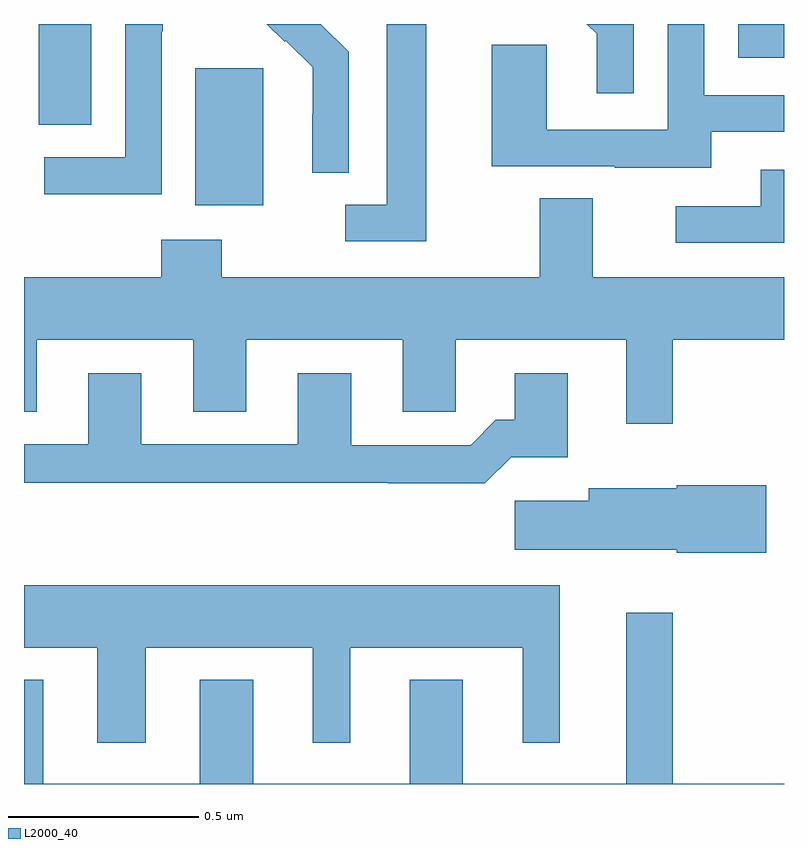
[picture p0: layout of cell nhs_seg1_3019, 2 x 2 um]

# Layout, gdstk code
import gdstk
lib = gdstk.Library(unit=1e-6, precision=1e-09)
def R(c, l, rs):  # rectangles x0, y0, x1, y1
    for r in rs: c.add(gdstk.rectangle(r[:2], r[2:], *l))
def P(c, l, *ps):  # polygons
    for p in ps: c.add(gdstk.Polygon(p, *l))
L2000_40 = (2000, 40)

nhs_seg1_3019 = lib.new_cell('nhs_seg1_3019')
R(nhs_seg1_3019, L2000_40, [(148.451,582.722,148.63,583.083), (148.039,582.934,148.177,583.199), (149.88,583.11,150,583.199)])
P(nhs_seg1_3019, L2000_40, [(149.809,582.915),(150,582.915),(150,583.011),(149.79,583.011),(149.79,583.199),(149.694,583.199),(149.694,582.921),(149.376,582.921),(149.376,583.145),(149.231,583.145),(149.231,582.825),(149.555,582.825),(149.555,582.821),(149.809,582.821)],
  [(148.854,583.126),(148.781,583.199),(148.639,583.199),(148.686,583.152),(148.689,583.155),(148.76,583.085),(148.76,582.962),(148.758,582.962),(148.758,582.808),(148.854,582.808)],
  [(148.362,583.18),(148.365,583.18),(148.365,583.199),(148.266,583.199),(148.266,582.849),(148.053,582.849),(148.053,582.751),(148.362,582.751)],
  [(149.604,583.199),(149.481,583.199),(149.507,583.173),(149.507,583.017),(149.604,583.017)],
  [(149.059,583.199),(148.955,583.199),(148.955,582.723),(148.845,582.723),(148.845,582.627),(149.059,582.627)],
  [(150,582.816),(149.939,582.816),(149.939,582.72),(149.715,582.72),(149.715,582.624),(150,582.624)],
  [(149.707,582.368),(150,582.368),(150,582.532),(149.497,582.532),(149.497,582.74),(149.357,582.74),(149.357,582.532),(148.521,582.532),(148.521,582.631),(148.361,582.631),(148.361,582.532),(148,582.532),(148,582.178),(148.033,582.178),(148.033,582.368),(148.445,582.368),(148.445,582.178),(148.585,582.178),(148.585,582.368),(148.997,582.368),(148.997,582.178),(149.136,582.178),(149.136,582.368),(149.585,582.368),(149.585,582.147),(149.707,582.147)],
  [(149.282,582.059),(149.431,582.059),(149.431,582.28),(149.291,582.28),(149.291,582.157),(149.242,582.157),(149.175,582.09),(148.861,582.09),(148.861,582.28),(148.721,582.28),(148.721,582.093),(148.309,582.093),(148.309,582.28),(148.169,582.28),(148.169,582.093),(148,582.093),(148,581.992),(148.957,581.992),(148.957,581.99),(149.213,581.99)],
  [(149.953,581.985),(149.718,581.985),(149.718,581.977),(149.486,581.977),(149.486,581.945),(149.292,581.945),(149.292,581.816),(149.718,581.816),(149.718,581.807),(149.953,581.807)],
  [(148.321,581.558),(148.76,581.558),(148.76,581.307),(148.858,581.307),(148.858,581.558),(149.312,581.558),(149.312,581.307),(149.41,581.307),(149.41,581.722),(148,581.722),(148,581.558),(148.193,581.558),(148.193,581.307),(148.321,581.307)],
  [(150,581.2),(149.707,581.2),(149.707,581.65),(149.585,581.65),(149.585,581.2),(149.155,581.2),(149.155,581.473),(149.015,581.473),(149.015,581.2),(148.603,581.2),(148.603,581.473),(148.463,581.473),(148.463,581.2),(148.051,581.2),(148.051,581.473),(148,581.473),(148,581.199),(150,581.199)])

lib.write_gds('nhs_seg1_3019.gds')
